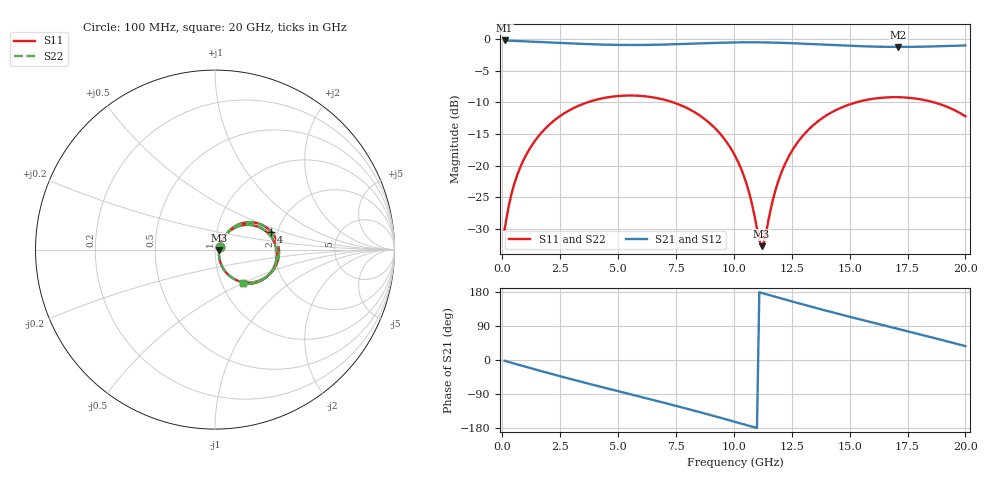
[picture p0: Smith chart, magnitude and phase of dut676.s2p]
! Touchstone file exported from HFSS 2026.1.0
!  File:  C:/ffzhzh/LocalFiles/Ansys_Project_Files/temp_train_TSV_RDL_676_1783133081_46604.aedt
!  Generated:  10:57:33 AM Jul  4, 2026
!  Design:  TSV_RDL
!  Project:  temp_train_TSV_RDL_676_1783133081_46604
! Variables:
!  h_bsmrdl = 3.24um
!  h_ox = 20um
!  h_rdl = 5um
!  h_sub = 60.74um
!  h_tmrdl = 2.4um
!  h_tsv = 60.74um
!  h_via = 3um
!  l_bsmrdl = 773.91um
!  l_sub = 5727.58um
!  l_tmrdl = 713.46um
!  m_sub = 200um
!  pitch = 38.17um
!  r_tsv = 6.38um
!  s_tmrdl = 10um
!  w_bsmrdl = 22.55um
!  w_sub = 500um
!  w_tmrdl = 28.12um
!  x_tsv_center1 = 727.52um
!  x_tsv_center2 = 1523.98um
!  x_tsv_center3 = 2265.56um
!  x_tsv_center4 = 3062.02um
!  x_tsv_center5 = 3803.6um
!  x_tsv_center6 = 4600.06um
# GHz S MA R 50.000000
! Terminal data exported
! Port[1] = TM_RDL1_1_T1
! Port[2] = TM_RDL5_1_T1
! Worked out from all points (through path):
!   200 points, 100 MHz to 20 GHz, reference 50 ohm
!   highest |S21| = -0.25 dB at 100 MHz (marker M1); lowest = -1.3 dB at 17.1 GHz (marker M2)
!   group delay of S21, straight-line fit = 45 ps
!   lowest |S11| = -32.7 dB at 11.2 GHz (marker M3), VSWR 1.05, Z = 52.3 - j0.4 ohm
!   |S11| at or under -10 dB: start of sweep to 3.689 GHz; 7.366 GHz to 15.3 GHz (7.938 GHz wide, 70 % of centre); 18.62 GHz to end of sweep
!   |S22| runs from -32.6 to -8.9 dB; largest |S21 - S12| = 1.7e-14
!   S11 on the Smith chart (normalised r, x): 100 MHz: 1.06, +0.03; 4 GHz: 1.86, +0.41; 20 GHz: 1.26, -0.51
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0.1  0.03134 24.4  0.9718 -1.9  0.9718 -1.9  0.03134 24.4
! Gamma 0 0 0 0
! Port Impedance 50 0 50 0
0.5  0.06998 51.5  0.9639 -9.1  0.9639 -9.1  0.06998 51.5
1.2  0.1374 52.7  0.9525 -21.1  0.9525 -21.1  0.1374 52.7
2.2  0.224 42.2  0.9353 -37.9  0.9353 -37.9  0.224 42.2
3.5  0.3074 24.5  0.9126 -58.9  0.9126 -58.9  0.3073 24.6
4  0.329 17.5  0.9056 -66.8  0.9056 -66.8  0.3289 17.5
5.4  0.3572 -2.4  0.8953 -88.4  0.8953 -88.4  0.3571 -2.4
6.8  0.3376 -22.5  0.9004 -109.9  0.9004 -109.9  0.3376 -22.4
8.8  0.2286 -51.3  0.925 -142.1  0.925 -142.1  0.2286 -51.2
10.1  0.115 -66.7  0.9379 -164.0  0.9379 -164.0  0.115 -66.5
10.6  0.06685 -66.3  0.9395 -172.6  0.9395 -172.6  0.06693 -66.0
11.2  0.02316 -9.5  0.9383 177.0  0.9383 177.0  0.02349 -9.3
11.3  0.02485 13.3  0.9378 175.3  0.9378 175.3  0.02517 13.1
11.8  0.06425 52.4  0.9338 166.7  0.9338 166.7  0.0644 52.2
12.1  0.09258 54.1  0.9303 161.5  0.9303 161.5  0.09269 54.0
12.7  0.1479 49.9  0.9215 151.4  0.9215 151.4  0.1479 49.8
13.4  0.2062 41.3  0.9092 139.7  0.9092 139.7  0.2063 41.2
15  0.304 19.1  0.8812 114.1  0.8812 114.1  0.304 19.1
16.7  0.3462 -4.8  0.8652 88.0  0.8652 88.0  0.3461 -4.7
17.1  0.3467 -10.3  0.8645 81.9  0.8645 81.9  0.3467 -10.3
18.6  0.3171 -31.2  0.8718 58.9  0.8718 58.9  0.317 -31.1
20  0.2453 -50.2  0.8878 36.6  0.8878 36.6  0.2453 -50.0
